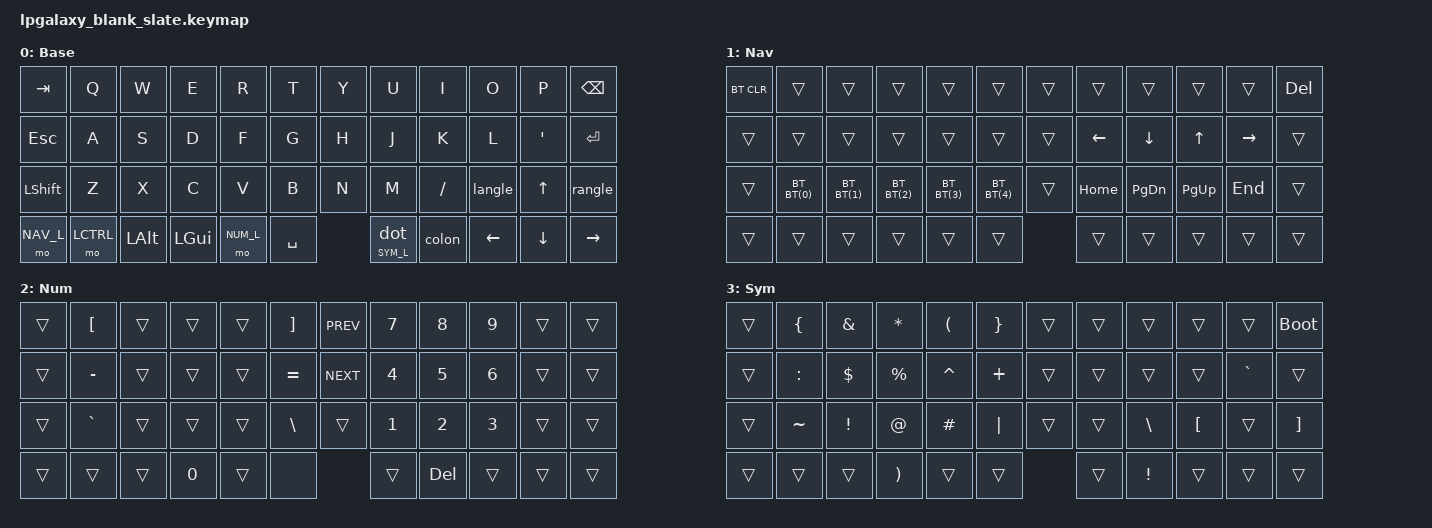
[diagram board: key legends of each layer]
/*
 * Copyright (c) 2022 Pete Johanson
 *
 * SPDX-License-Identifier: MIT
 */

#include <behaviors.dtsi>
#include <dt-bindings/zmk/keys.h>
#include <dt-bindings/zmk/bt.h>
#include <dt-bindings/zmk/outputs.h>

#define QWERTY_BASE 1

// #define TBLE_ORTHO   1
#define TBLE_MIT     1
// #define TBLE_DUAL_2U 1

#define NAV_L 1
#define NUM_L 2
#define SYM_L 3

// Using layer taps on thumbs, having quick tap as well helps w/ repeating space/backspace
&lt { quick_tap_ms = <200>; };

#define BT(n) BT_SEL n

/ {
    behaviors {
        dot: period_comma {
            compatible = "zmk,behavior-mod-morph";
            #binding-cells = <0>;
            bindings = <&kp DOT>, <&kp COMMA>;
            mods = <(MOD_LGUI|MOD_LSFT|MOD_RGUI|MOD_RSFT)>;
            keep-mods = <(MOD_LGUI|MOD_RGUI)>;
        };
        colon: colon_semicolon {
            compatible = "zmk,behavior-mod-morph";
            #binding-cells = <0>;
            bindings = <&kp COLON>, <&kp SEMI>;
            mods = <(MOD_LSFT|MOD_RSFT)>;
        };
        langle: lessthan_lparen {
            compatible = "zmk,behavior-mod-morph";
            #binding-cells = <0>;
            bindings = <&kp LS(LT)>, <&kp LPAR>;
            mods = <(MOD_LSFT|MOD_RSFT)>;
            keep-mods = <(MOD_LSFT|MOD_RSFT)>;
        };
        rangle: morethan_rparen {
            compatible = "zmk,behavior-mod-morph";
            #binding-cells = <0>;
            bindings = <&kp LS(GT)>, <&kp RPAR>;
            mods = <(MOD_LSFT|MOD_RSFT)>;
            keep-mods = <(MOD_LSFT|MOD_RSFT)>;
        };
        ltap: layer_tap {
            compatible = "zmk,behavior-hold-tap";
            #binding-cells = <2>;
            flavor = "tap-unless-interrupted";
            tapping-term-ms = <400>;
            quick-tap-ms = <200>;
            bindings = <&mo>, <&dot>;
        };
    };
    chosen {
       zmk,matrix_transform =
#ifdef TBLE_DUAL_2U
                       &dual_2u_transform;
#elif defined(TBLE_MIT)
                       &mit_transform;
#else
                       &ortho_transform;
#endif
    };

    macros {
      ZMK_MACRO(thumbs_up,
		wait-ms = <1>;
		tap-ms = <5>;
		bindings = <&kp PLUS &kp COLON &kp PLUS &kp N1 &kp COLON &kp RET>;
		)
    };
    
    tap_dances {
    	shifty: shift_caps_word {
		compatible = "zmk,behavior-tap-dance";
		label = "TD_SHIFTY";
		#binding-cells = <0>;
		tapping-term-ms = <150>;
		bindings = <&kp LSHFT>, <&caps_word>;
	};
    };

    keymap {
        compatible = "zmk,keymap";

        base_layer {
            label = "Base";
            bindings = <
 &kp TAB    &kp Q      &kp W      &kp E       &kp R          &kp T          &kp Y            &kp U          &kp I       &kp O      &kp P         &kp BKSP
 &kp ESC    &kp A      &kp S      &kp D       &kp F          &kp G          &kp H            &kp J          &kp K       &kp L      &kp QUOT      &kp RET
 &kp LSHFT  &kp Z      &kp X      &kp C       &kp V          &kp B          &kp N            &kp M          &kp SLASH   &langle    &kp UP        &rangle
 &mo NAV_L  &mo LCTRL  &kp LALT   &kp LGUI    &mo NUM_L          &kp SPACE                   &ltap SYM_L 0  &colon      &kp LEFT   &kp DOWN      &kp RIGHT
            >;
        };

        nav_layer {
            label = "Nav";
            bindings = <
&bt BT_CLR &trans     &trans     &trans      &trans          &trans       &trans     &trans         &trans      &trans     &trans     &kp DEL
&trans     &trans     &trans     &trans      &trans          &trans       &trans     &kp LEFT       &kp DOWN    &kp UP     &kp RIGHT  &trans
&trans     &bt BT(0)  &bt BT(1)  &bt BT(2)   &bt BT(3)       &bt BT(4)    &trans     &kp HOME       &kp PG_DN   &kp PG_UP  &kp END    &trans
&trans  &trans        &trans     &trans      &trans                &trans             &trans      &trans   &trans &trans &trans
            >;
        };

        num_layer {
            label = "Num";
            bindings = <
&trans     &kp LBKT   &trans &trans &trans    &kp RBKT    &kp C_PREV    &kp N7     &kp N8      &kp N9       &trans     &trans
&trans     &kp MINUS  &trans &trans &trans    &kp EQUAL   &kp C_NEXT    &kp N4     &kp N5      &kp N6       &trans     &trans
&trans     &kp GRAVE  &trans &trans &trans    &kp BSLH    &trans        &kp N1     &kp N2      &kp N3       &trans     &trans
&trans  &trans       &trans     &kp N0      &trans           &none            &trans        &kp DEL      &trans &trans &trans
            >;
        };

        sym_layer {
            label = "Sym";
            bindings = <
&trans     &kp LBRC   &kp AMPS   &kp STAR    &kp LPAR     &kp RBRC     &trans     &trans    &trans       &trans       &trans     &bootloader
&trans     &kp COLON  &kp DLLR   &kp PRCNT   &kp CARET    &kp PLUS     &trans     &trans    &trans       &trans       &kp GRAVE  &trans
&trans     &kp TILDE  &kp EXCL   &kp AT      &kp HASH     &kp PIPE     &trans     &trans    &kp BSLH     &kp LBKT     &trans     &kp RBKT
&trans     &trans     &trans     &kp RPAR    &trans                &trans         &trans    &kp EXCL     &trans       &trans     &trans
            >;
        };


    };
};

